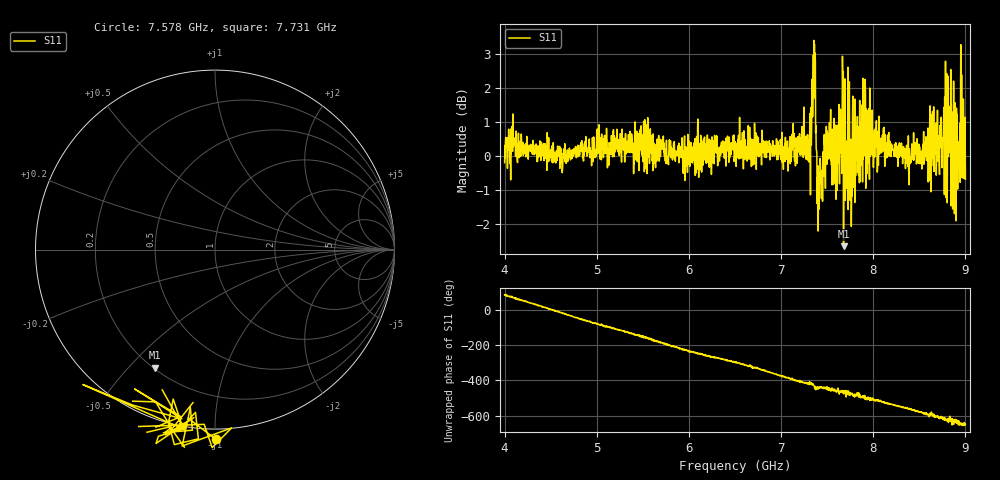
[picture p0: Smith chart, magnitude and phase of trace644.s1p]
! Created with skrf 1.8.0 (http://scikit-rf.org).
# Hz S RI R 50.0
!freq ReS11 ImS11
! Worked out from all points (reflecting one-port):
!   1601 points, 4 GHz to 9 GHz, reference 50 ohm
!   lowest |S11| = -2.6 dB at 7.678 GHz (marker M1), VSWR 6.63, Z = 10.3 - j29.7 ohm
!   phase of S11 starts at 84 deg and turns -735 deg over the sweep
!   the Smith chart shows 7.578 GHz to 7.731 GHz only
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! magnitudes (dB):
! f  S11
! 4 GHz  -0.2
! 4.1 GHz  0.3
! 4.625 GHz  -0.5
! 5.25 GHz  0.5
! 5.875 GHz  0.0
! 6.5 GHz  0.3
! 7.125 GHz  0.2
! 7.294 GHz  -0.1
! 7.319 GHz  -1.1
! 7.347 GHz  2.3
! 7.362 GHz  3.3
! 7.4 GHz  -0.3
! 7.416 GHz  -0.5
! 7.512 GHz  0.7
! 7.584 GHz  -0.8
! 7.678 GHz  -2.6
! 7.703 GHz  0.1
! 7.75 GHz  -1.3
! 7.775 GHz  1.1
! 7.8 GHz  -1.4
! 7.903 GHz  0.7
! 8.375 GHz  -0.3
! 8.603 GHz  0.7
! 8.759 GHz  0.5
! 8.919 GHz  -0.4
! 8.959 GHz  2.4
! 8.972 GHz  0.8
! 9 GHz  -0.7
